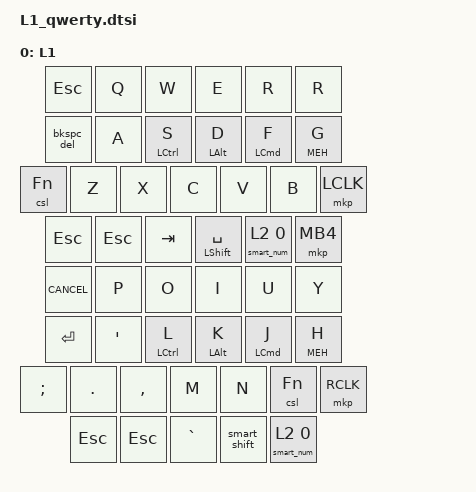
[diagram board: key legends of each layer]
/**
 * Alpha Layer - QWERTY
 */

/ {
  keymap {
    compatible = "zmk,keymap";

    qwerty_layer {
      display-name = "L1";
      bindings = <

/**
// ╭───────────────┬───────────────┬───────────────┬───────────────┬───────────────┬───────────────╮                                   ╭───────────────┬───────────────┬───────────────┬───────────────┬───────────────┬───────────────╮
// │0              │1              │2              │3              │4              │5              │                                   │6              │7              │8              │9              │10             │11             │*/
    &kp ESC         &kp Q           &kp W           &kp E           &kp R           &kp R                                               
/**
// ├───────────────├───────────────┼───────────────┼───────────────┼───────────────┼───────────────┤                                   ├───────────────├───────────────┼───────────────┼───────────────┼───────────────┼───────────────┤
// │12             │13             │14             │15             │16             │17             │                                   │18             │19             │20             │21             │22             │23             │*/
    &bkspc_del      &kp A           &hrml LCTRL S   &hrml LALT D    &hrml LCMD F    &hrml MEH G                                         

/**
// ├───────────────├───────────────┼───────────────┼───────────────┼───────────────┼───────────────┤                                   ├───────────────├───────────────┼───────────────┼───────────────┼───────────────┼───────────────┤
// │24             │25             │26             │27             │28             │29             │                                   │30             │31             │32             │33             │34             │35             │*/
    &csl Fn         &kp Z           &kp X           &kp C           &kp V           &kp B           &mkp LCLK                

/**
// ╰───────────────┴───────────────┴───────────────┼───────────────┼───────────────┼───────────────┤                                   ├───────────────├───────────────┼───────────────┼───────────────┴───────────────┴───────────────╯
//                                                 │36             │37             │38             │                                   │39             │40             │41             │*/
    &kp ESC         &kp ESC                         &kp TAB         &mt LSHFT SPACE &smart_num L2 0              &mkp MB4               

/**
//                                                 ╰───────────────┴───────────────┴───────────────╯                                   ╰───────────────┴───────────────┴───────────────╯*/
&kp K_CANCEL    &kp P           &kp O           &kp I           &kp U           &kp Y
&kp ENTER       &kp SQT         &hrmr LCTRL L   &hrmr LALT K    &hrmr LCMD J    &hrmr MEH H
&kp SEMICOLON   &kp DOT         &kp COMMA       &kp M           &kp N           &csl Fn            &mkp RCLK       
&kp ESC         &kp ESC         &kp GRAVE       &smart_shift    &smart_num L2 0
      >;
    };
  };
};
